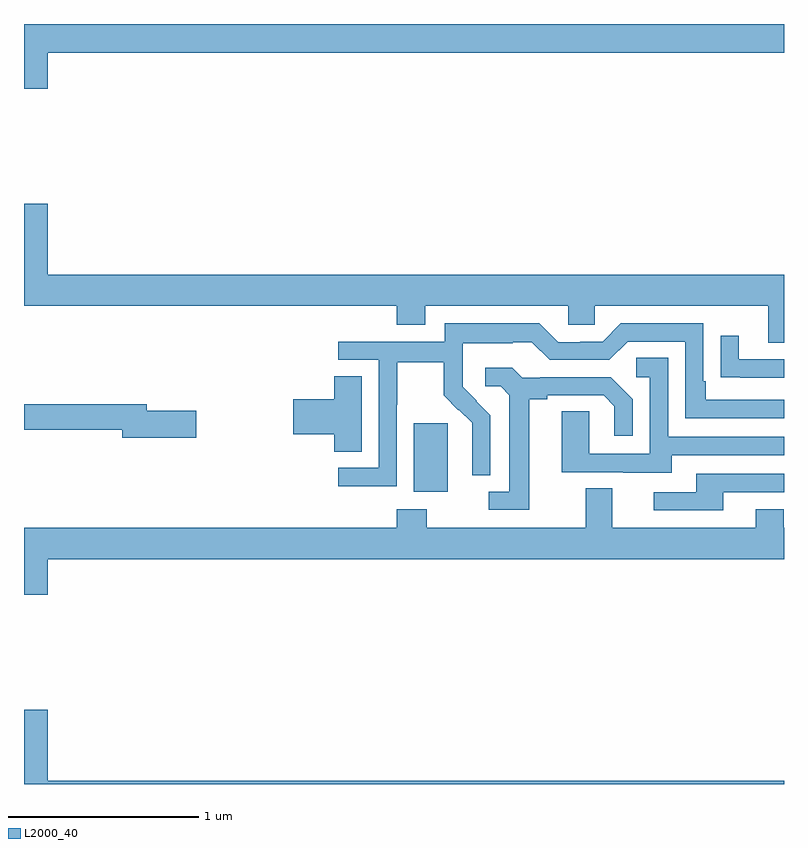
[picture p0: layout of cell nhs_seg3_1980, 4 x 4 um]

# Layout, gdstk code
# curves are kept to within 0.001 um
import gdstk
lib = gdstk.Library(unit=1e-6, precision=1e-09)
def R(c, l, rs):  # rectangles x0, y0, x1, y1
    for r in rs: c.add(gdstk.rectangle(r[:2], r[2:], *l))
def P(c, l, *ps):  # polygons
    for p in ps: c.add(gdstk.Polygon(p, *l))
L2000_40 = (2000, 40)

nhs_seg3_1980 = lib.new_cell('nhs_seg3_1980')
R(nhs_seg3_1980, L2000_40, [(215.051,699.938,215.23,700.299)])
P(nhs_seg3_1980, L2000_40, [(213.124,702.248),(217,702.248),(217,702.4),(213,702.4),(213,702.06),(213.124,702.06)],
  [(217,701.08),(213.124,701.08),(213.124,701.455),(213,701.455),(213,700.916),(214.961,700.916),(214.961,700.817),(215.113,700.817),(215.113,700.916),(215.865,700.916),(215.865,700.818),(216.003,700.818),(216.003,700.916),(216.917,700.916),(216.917,700.722),(217,700.722)],
  [(214.962,700.396),(214.965,700.396),(214.965,700.62),(215.209,700.62),(215.209,700.445),(215.286,700.368),(215.289,700.371),(215.36,700.301),(215.36,700.178),(215.358,700.178),(215.358,700.024),(215.454,700.024),(215.454,700.342),(215.308,700.49),(215.308,700.587),(215.31,700.587),(215.31,700.721),(215.573,700.721),(215.573,700.725),(215.673,700.725),(215.766,700.632),(216.081,700.632),(216.177,700.728),(216.48,700.728),(216.48,700.326),(217,700.326),(217,700.422),(216.589,700.422),(216.589,700.519),(216.576,700.519),(216.576,700.824),(216.141,700.824),(216.045,700.728),(215.927,700.728),(215.927,700.725),(215.811,700.725),(215.711,700.825),(215.214,700.825),(215.214,700.728),(214.653,700.728),(214.653,700.632),(214.866,700.632),(214.866,700.065),(214.653,700.065),(214.653,699.967),(214.962,699.967)],
  [(217,700.635),(216.763,700.635),(216.763,700.759),(216.667,700.759),(216.667,700.54),(216.769,700.54),(216.769,700.539),(217,700.539)],
  [(216.409,700.131),(217,700.131),(217,700.227),(216.39,700.227),(216.39,700.643),(216.222,700.643),(216.222,700.542),(216.294,700.542),(216.294,700.137),(215.976,700.137),(215.976,700.361),(215.831,700.361),(215.831,700.041),(216.155,700.041),(216.155,700.037),(216.409,700.037)],
  [(215.659,700.424),(215.755,700.424),(215.755,700.446),(216.05,700.446),(216.107,700.389),(216.107,700.233),(216.204,700.233),(216.204,700.426),(216.088,700.542),(215.716,700.542),(215.716,700.539),(215.622,700.539),(215.57,700.591),(215.427,700.591),(215.427,700.494),(215.508,700.494),(215.555,700.447),(215.555,699.939),(215.445,699.939),(215.445,699.843),(215.659,699.843)],
  [(214.777,700.547),(214.634,700.547),(214.634,700.424),(214.416,700.424),(214.416,700.241),(214.634,700.241),(214.634,700.15),(214.777,700.15)],
  [(213.907,700.364),(213.646,700.364),(213.646,700.4),(213,700.4),(213,700.264),(213.518,700.264),(213.518,700.222),(213.907,700.222)],
  [(216.679,699.936),(217,699.936),(217,700.032),(216.539,700.032),(216.539,699.936),(216.315,699.936),(216.315,699.84),(216.679,699.84)],
  [(213.124,699.584),(217,699.584),(217,699.748),(216.999,699.748),(216.999,699.847),(216.851,699.847),(216.851,699.748),(216.097,699.748),(216.097,699.956),(215.957,699.956),(215.957,699.748),(215.121,699.748),(215.121,699.847),(214.961,699.847),(214.961,699.748),(213,699.748),(213,699.396),(213.124,699.396)],
  [(217,698.416),(213.124,698.416),(213.124,698.791),(213,698.791),(213,698.4),(217,698.4)])

lib.write_gds('nhs_seg3_1980.gds')
